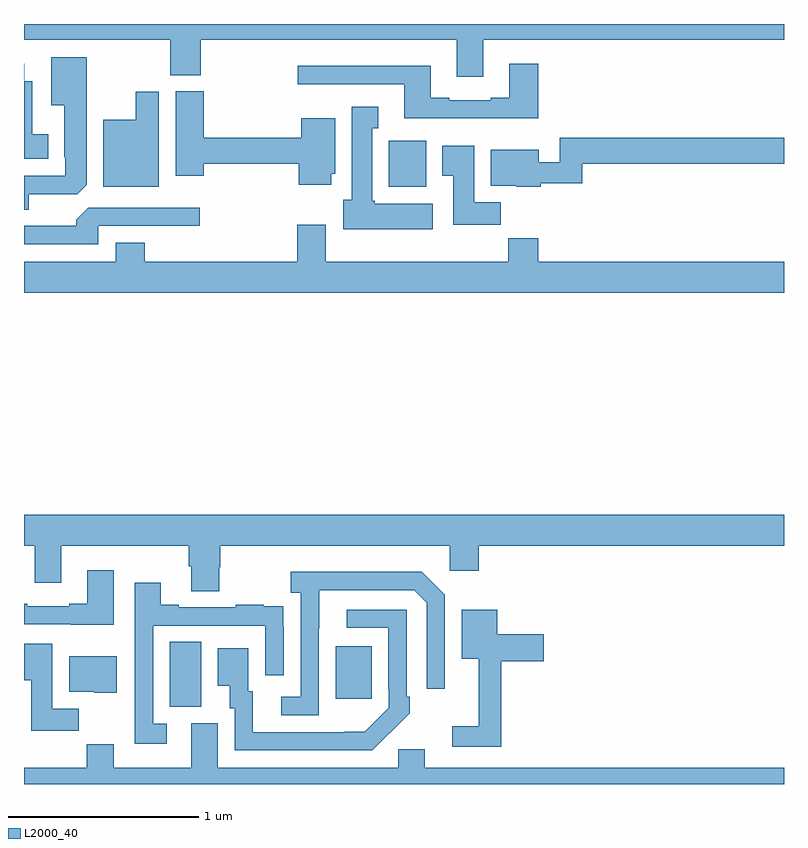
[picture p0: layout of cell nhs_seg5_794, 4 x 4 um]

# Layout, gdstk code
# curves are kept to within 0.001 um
import gdstk
lib = gdstk.Library(unit=1e-6, precision=1e-09)
def R(c, l, rs):  # rectangles x0, y0, x1, y1
    for r in rs: c.add(gdstk.rectangle(r[:2], r[2:], *l))
def P(c, l, *ps):  # polygons
    for p in ps: c.add(gdstk.Polygon(p, *l))
L2000_40 = (2000, 40)

nhs_seg5_794 = lib.new_cell('nhs_seg5_794')
R(nhs_seg5_794, L2000_40, [(161.768,897.205,161.932,897.548), (162.641,897.249,162.829,897.523), (162.92,899.942,163.117,900.184)])
P(nhs_seg5_794, L2000_40, [(163.417,900.716),(165,900.716),(165,900.799),(161,900.799),(161,900.716),(161.77,900.716),(161.77,900.529),(161.93,900.529),(161.93,900.716),(163.277,900.716),(163.277,900.522),(163.417,900.522)],
  [(161.026,899.904),(161.28,899.904),(161.329,899.953),(161.329,900.625),(161.144,900.625),(161.144,900.371),(161.213,900.371),(161.213,900.097),(161.217,900.097),(161.217,900),(161,900),(161,899.821),(161.026,899.821)],
  [(161.128,900.22),(161.044,900.22),(161.044,900.499),(161.002,900.499),(161.002,900.589),(161,900.589),(161,900.089),(161.128,900.089)],
  [(163.706,900.589),(163.553,900.589),(163.553,900.412),(163.457,900.412),(163.457,900.399),(163.237,900.399),(163.237,900.412),(163.141,900.412),(163.141,900.58),(162.441,900.58),(162.441,900.483),(163.001,900.483),(163.001,900.302),(163.706,900.302)],
  [(162.616,900.012),(162.637,900.012),(162.637,900.304),(162.458,900.304),(162.458,900.2),(161.945,900.2),(161.945,900.444),(161.798,900.444),(161.798,900),(161.945,900),(161.945,900.064),(162.446,900.064),(162.446,899.952),(162.616,899.952)],
  [(161.71,900.442),(161.588,900.442),(161.588,900.295),(161.417,900.295),(161.417,899.942),(161.71,899.942)],
  [(163.15,899.854),(162.846,899.854),(162.846,899.868),(162.832,899.868),(162.832,900.251),(162.865,900.251),(162.865,900.364),(162.725,900.364),(162.725,899.874),(162.68,899.874),(162.68,899.72),(163.15,899.72)],
  [(163.721,899.961),(163.937,899.961),(163.937,900.064),(165,900.064),(165,900.2),(163.821,900.2),(163.821,900.072),(163.708,900.072),(163.708,900.136),(163.457,900.136),(163.457,899.948),(163.59,899.948),(163.59,899.942),(163.721,899.942)],
  [(163.508,899.86),(163.369,899.86),(163.369,900.157),(163.202,900.157),(163.202,900.001),(163.259,900.001),(163.259,899.742),(163.508,899.742)],
  [(161.391,899.736),(161.926,899.736),(161.926,899.832),(161.337,899.832),(161.276,899.77),(161.276,899.736),(161,899.736),(161,899.64),(161.391,899.64)],
  [(165,899.548),(163.706,899.548),(163.706,899.672),(163.549,899.672),(163.549,899.548),(162.589,899.548),(162.589,899.743),(162.437,899.743),(162.437,899.548),(161.636,899.548),(161.636,899.647),(161.483,899.647),(161.483,899.548),(161,899.548),(161,899.384),(165,899.384)],
  [(162.027,897.939),(162.032,897.939),(162.032,898.052),(163.242,898.052),(163.242,897.921),(163.394,897.921),(163.394,898.052),(165,898.052),(165,898.216),(161,898.216),(161,898.052),(161.057,898.052),(161.057,897.858),(161.197,897.858),(161.197,898.052),(161.867,898.052),(161.867,897.946),(161.879,897.946),(161.879,897.814),(162.027,897.814)],
  [(161.473,897.925),(161.333,897.925),(161.333,897.748),(161.237,897.748),(161.237,897.735),(161.017,897.735),(161.017,897.748),(161,897.748),(161,897.639),(161.245,897.639),(161.245,897.638),(161.473,897.638)],
  [(162.552,897.619),(162.553,897.819),(163.053,897.819),(163.119,897.753),(163.119,897.3),(163.215,897.3),(163.215,897.795),(163.094,897.916),(162.405,897.916),(162.405,897.806),(162.456,897.806),(162.456,897.258),(162.354,897.258),(162.354,897.162),(162.552,897.162)],
  [(161.752,897.117),(161.679,897.117),(161.679,897.633),(162.27,897.633),(162.27,897.372),(162.366,897.372),(162.366,897.626),(162.365,897.626),(162.365,897.735),(162.263,897.735),(162.263,897.742),(162.115,897.742),(162.115,897.729),(161.815,897.729),(161.815,897.742),(161.719,897.742),(161.719,897.859),(161.583,897.859),(161.583,897.012),(161.752,897.012)],
  [(162.923,897.067),(162.924,897.066),(163.029,897.171),(163.029,897.259),(163.014,897.259),(163.014,897.717),(162.699,897.717),(162.699,897.621),(162.918,897.621),(162.918,897.301),(162.921,897.301),(162.921,897.201),(162.793,897.073),(162.205,897.072),(162.205,897.288),(162.181,897.288),(162.181,897.514),(162.02,897.514),(162.02,897.317),(162.083,897.317),(162.083,897.198),(162.108,897.198),(162.108,896.976),(162.832,896.976)],
  [(163.511,897.446),(163.735,897.446),(163.735,897.588),(163.492,897.588),(163.492,897.715),(163.304,897.715),(163.304,897.458),(163.394,897.458),(163.394,897.103),(163.254,897.103),(163.254,896.994),(163.511,896.994)],
  [(161.288,897.196),(161.149,897.196),(161.149,897.538),(161,897.538),(161,897.344),(161.039,897.344),(161.039,897.078),(161.288,897.078)],
  [(161.488,897.472),(161.237,897.472),(161.237,897.284),(161.37,897.284),(161.37,897.278),(161.488,897.278)],
  [(163.108,896.982),(162.969,896.982),(162.969,896.884),(162.019,896.884),(162.019,897.12),(161.879,897.12),(161.879,896.884),(161.473,896.884),(161.473,897.008),(161.329,897.008),(161.329,896.884),(161,896.884),(161,896.799),(165,896.799),(165,896.884),(163.108,896.884)])

lib.write_gds('nhs_seg5_794.gds')
